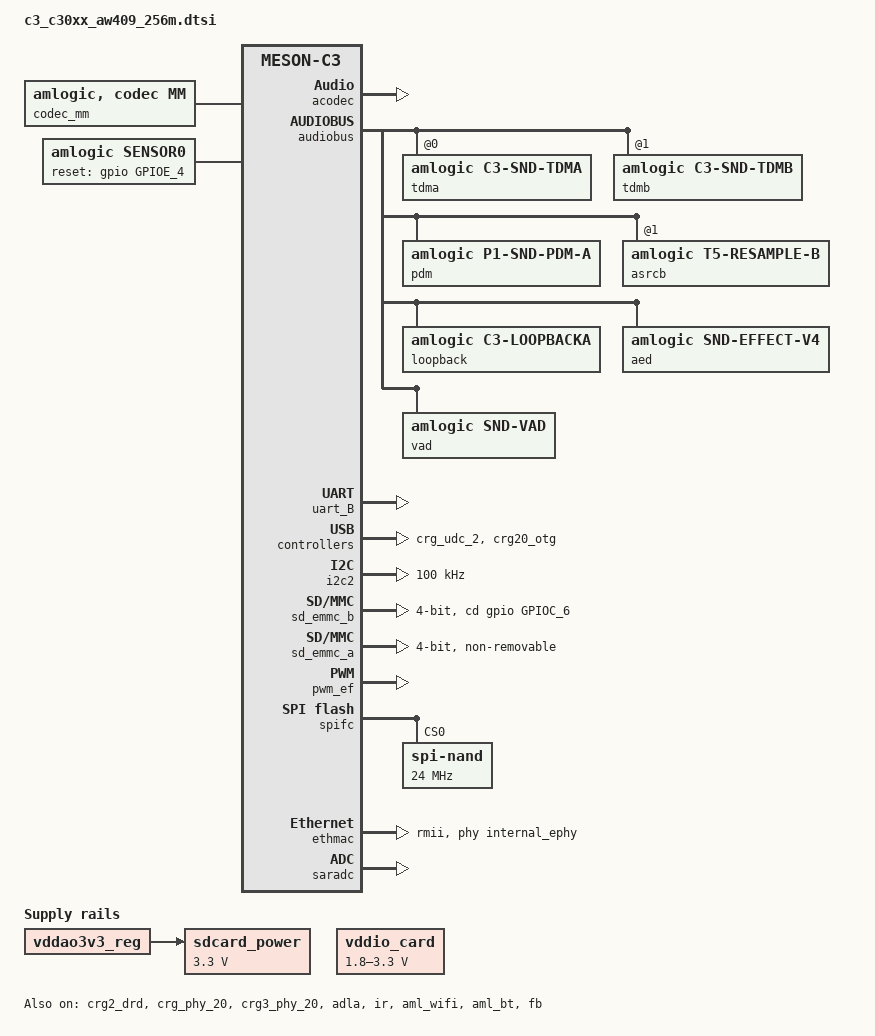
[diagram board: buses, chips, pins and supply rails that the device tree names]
// SPDX-License-Identifier: (GPL-2.0+ OR MIT)
/*
 * Copyright (c) 2019 Amlogic, Inc. All rights reserved.
 */

/dts-v1/;

#include "meson-c3.dtsi"
#include "meson-c3_skt-panel.dtsi"

/ {

	aliases {
		serial0 = &uart_B;
		serial1 = &uart_E;
		serial2 = &uart_A;
		serial3 = &uart_C;
		serial4 = &uart_D;
		serial5 = &uart_F;
		i2c0 = &i2c0;
		i2c1 = &i2c1;
		i2c2 = &i2c2;
		i2c3 = &i2c3;
		spi0 = &spifc;
		spi1 = &spicc0;
		spi2 = &spicc1;
		tsensor0 = &tsensor;
	};

	chosen {
		stdout-path = "serial0:115200n8";
	};

	memory@0 {
		device_type = "memory";
		linux,usable-memory = <0x0 0x10000000>;
	};

	reserved-memory {
		#address-cells = <1>;
		#size-cells = <1>;
		ranges;
		secmon_reserved:linux,secmon {
			compatible = "shared-dma-pool";
			no-map;
			size = <0x100000>;
			alignment = <0x100000>;
			//alloc-ranges =  <0x05000000 0x8000000>;
			reg = <0x07F00000 0x100000>;
		};
		nna_cma_reserved: linux,nna_cma {
			compatible = "shared-dma-pool";
			//alloc-ranges = <0x70000000 0x18000000>;
			size = <0x2000000>;
			alignment = <0x400000>;
			reusable;
			//no-map;
			status = "disabled";
		};

		logo_reserved:linux,meson-fb {
			compatible = "amlogic, meson-fb";
			/* keep sync with fb */
			/* fox example:logo_addr = "0x3f800000"*/
			size = <0x1800000>;
			alignment = <0x400000>;
			reg = <0xe800000 0x1800000>;
			status = "disabled";
		};

		ion_cma_reserved:linux,ion-dev {
			compatible = "shared-dma-pool";
			reusable;
			size = <0x400000>;
			alignment = <0x400000>;
			status = "disabled";
		};

		rtos_reserved:linux,rtos_reserved {
			compatible = "amlogic, aml_rtos_memory";
			status = "disabled";
			reg = <0x4800000 0x200000>;
			no-map;
		};

		dsp_fw_reserved:linux,dsp_fw {
			compatible = "shared-dma-pool";
			reusable;
			alignment = <0x400000>;
			reg = <0x3400000 0x0>;
			status = "disabled";
		};

		ramoops@0x08400000 {
			compatible = "ramoops";
			reg = <0x08400000 0x00100000>;
			record-size = <0x20000>;
			console-size = <0x20000>;
			ftrace-size = <0x80000>;
			pmsg-size = <0x0>;
			no-map;
			status = "disabled";
		};

		pmz_cma_a1_reserved:anonymous {
			compatible = "shared-dma-pool";
			reusable;
			size = <0x8000000>;
			alignment = <0x400000>;
			alloc-ranges = <0x8000000 0x10000000>;
			status = "okay";
		};

		pmz_cma_a2_reserved:anonymous_ext{
			compatible = "shared-dma-pool";
			reusable;
			size = <0x1000000>;
			alignment = <0x400000>;
			status = "disabled";
		};

		linux,cma {
			compatible = "shared-dma-pool";
			reusable;
			size = <0x400000>;
			alignment = <0x400000>;
			alloc-ranges = <0x05000000 0x7F00000>;
			linux,cma-default;
		};

		codec_mm_cma:linux,codec_mm_cma {
			compatible = "shared-dma-pool";
			reusable;
			/* ion_codec_mm max can alloc size 80M*/
			size = <0x2400000>;
			alignment = <0x400000>;
			linux,contiguous-region;
			status = "disabled";
		};
		/* codec shared reserved */
		codec_mm_reserved:linux,codec_mm_reserved {
			compatible = "amlogic, codec-mm-reserved";
			size = <0x0>;
			alignment = <0x100000>;
			//no-map;
		};
		jpegenc_cma_reserved:linux,jpegenc_cma {
			compatible = "shared-dma-pool";
			reusable;
			size = <0x0>;
			alignment = <0x400000>;
			status = "disabled";
		};
	};

	codec_mm {
		compatible = "amlogic, codec, mm";
		memory-region = <&codec_mm_cma &codec_mm_reserved>;
		dev_name = "codec_mm";
		status = "okay";
	};

	sdcard_power: regulator-sdcard {
		compatible = "regulator-fixed";
		regulator-name = "SDCARD_POWER";
		vin-supply = <&vddao3v3_reg>;
		regulator-min-microvolt = <3300000>;
		regulator-max-microvolt = <3300000>;
		//gpio = <&gpio GPIOD_13 GPIO_ACTIVE_HIGH>;
		enable-active-high;
		regulator-boot-on;
	};

	vddio_card: gpio-regulator {
		compatible = "regulator-gpio";
		regulator-name = "VDDIO_CARD";
		regulator-min-microvolt = <1800000>;
		regulator-max-microvolt = <3300000>;
		//gpio = <&gpio GPIOE_2 GPIO_ACTIVE_HIGH>;
		gpios-states = <1>;

		/* Based on P200 schematics, signal CARD_1.8V/3.3V_CTR */
		states = <1800000 1
			  3300000 0>;
	};

	pmz_a1_dev {
		compatible = "amlogic, pmz_dev";
		memory-region = <&pmz_cma_a1_reserved>;
	};

	pmz_a2_dev {
		compatible = "amlogic, pmz_dev";
		memory-region = <&pmz_cma_a2_reserved>;
		status = "okay";
	};

        hantro {
            compatible = "hantro";
            status = "okay";
            interrupts = <0x00 0x86 0x01 0x00 0x87 0x01 0x00 0x88 0x01>;
            interrupt-names = "vc9000e_irq0\0vc9000e_irq1\0vc9000e_irq1";
        };

	/* Audio Related start */
	dummy_codec:dummy_codec{
		#sound-dai-cells = <0>;
		compatible = "amlogic, aml_dummy_codec";
		status = "okay";
	};

	acodec:acodec {
		#sound-dai-cells = <0>;
		compatible = "amlogic, c3_acodec";
		status = "okay";
		reg = <0xFE01A000 0x20>;
		tdmout_index = <0>;
		tdmin_index = <0>;
		dat0_ch_sel = <0>;
		reset-names = "acodec";
		resets = <&reset RESET_ACODEC>;
		//power-domains = <&pwrdm PDID_CX_ACODEC>;
	};

	auge_sound {
		compatible = "amlogic, auge-sound-card";
		aml-audio-card,name = "AML-AUGESOUND";

		/*avout mute gpio*/
		//avout_mute-gpios = <&gpio GPIOD_0 GPIO_ACTIVE_HIGH>;

		aml-audio-card,dai-link@0 {
			format = "i2s"; //"dsp_a";
			mclk-fs = <256>;
			//continuous-clock;
			//bitclock-inversion;
			//frame-inversion;
			/* master mode */
			bitclock-master = <&tdma>;
			frame-master = <&tdma>;
			/* slave mode */
			/*
			 * bitclock-master = <&tdmacodec>;
			 * frame-master = <&tdmacodec>;
			 */
			suffix-name = "alsaPORT-pcm";
			tdmacpu: cpu {
				sound-dai = <&tdma>;
				dai-tdm-slot-tx-mask = <1 1>;
				dai-tdm-slot-rx-mask = <1 1>;
				dai-tdm-slot-num = <2>;
				dai-tdm-slot-width = <32>;
				system-clock-frequency = <12288000>;
			};
			tdmacodec: codec {
				sound-dai = <&dummy_codec &acodec>;
			};
		};

		aml-audio-card,dai-link@1 {
			format = "i2s";
			mclk-fs = <256>;
			//continuous-clock;
			//bitclock-inversion;
			//frame-inversion;
			/* master mode */
			bitclock-master = <&tdmb>;
			frame-master = <&tdmb>;
			/* slave mode */
			//bitclock-master = <&tdmbcodec>;
			//frame-master = <&tdmbcodec>;
			/* suffix-name, sync with android audio hal
			 * what's the dai link used for
			 */
			suffix-name = "alsaPORT-i2s";
			tdmbcpu: cpu {
				sound-dai = <&tdmb>;
				dai-tdm-slot-tx-mask = <1 1>;
				dai-tdm-slot-rx-mask = <1 1>;
				dai-tdm-slot-num = <2>;
				dai-tdm-slot-width = <32>;
				system-clock-frequency = <12288000>;
			};
			tdmbcodec: codec {
				sound-dai = <&dummy_codec>;
			};
		};

		aml-audio-card,dai-link@2 {
			mclk-fs = <64>;
			/* suffix-name, sync with android audio hal
			 * what's the dai link used for
			 */
			suffix-name = "alsaPORT-pdm";
			cpu {
				sound-dai = <&pdm>;
			};
			codec {
				sound-dai = <&dummy_codec>;
			};
		};

		aml-audio-card,dai-link@3 {
			mclk-fs = <256>;
			continuous-clock;
			suffix-name = "alsaPORT-loopback";
			cpu {
				sound-dai = <&loopback>;
				system-clock-frequency = <12288000>;
			};
			codec {
				sound-dai = <&dummy_codec>;
			};
		};
	};

	picdec {
		compatible = "amlogic, picdec";
		status = "okay";
	};

	audiolocker: locker {
		compatible = "amlogic, audiolocker";
		clocks = <&clkaudio CLKID_AUDIO_LOCKER_OUT
				&clkaudio CLKID_AUDIO_LOCKER_IN
				&clkaudio CLKID_AUDIO_MCLK_C
				&clkaudio CLKID_AUDIO_MCLK_D
				&clkc CLKID_FCLK_DIV2
				&clkc CLKID_FCLK_DIV3>;
		clock-names = "lock_out", "lock_in", "out_src",
					"in_src", "out_calc", "in_ref";
		interrupts = <GIC_SPI 42 IRQ_TYPE_EDGE_RISING>;
		interrupt-names = "irq";
		frequency = <49000000>; /* pll */
		dividor = <49>; /* locker's parent */
		//power-domains = <&pwrdm PDID_CX_AUDIO>;
		status = "disabled";
	};
	/* Audio Related end */
	/* to check
	 *wifivbat_power: regulator-wifivbat {
	 *	compatible = "regulator-fixed";
	 *	regulator-name = "WIFIVBAT_POWER";
	 *	vin-supply = <&vddao3v3_reg>;
	 *	regulator-min-microvolt = <3300000>;
	 *	regulator-max-microvolt = <3300000>;
	 *	gpio = <&gpio GPIOD_13 GPIO_ACTIVE_HIGH>;
	 *	enable-active-high;
	 *	regulator-boot-on;
	 *	regulator-always-on;
	 *};

	 *vddio_wf: regulator_wfio {
	 *	compatible = "regulator-fixed";
	 *	regulator-name = "VDDIO_WF";
	 *	vin-supply = <&vddao1v8_reg>;
	 *	regulator-min-microvolt = <1800000>;
	 *	regulator-max-microvolt = <1800000>;
	 *	regulator-boot-on;
	 *	regulator-always-on;
	 *};
	 */

	gpio_keypad{
		compatible = "amlogic, gpio_keypad";
		status = "disabled";
		scan_period = <20>;
		key_num = <1>;
		key_name = "power";
		key_code = <116>;
		key-gpios = <&gpio  GPIOD_4  GPIO_ACTIVE_HIGH>;
		detect_mode = <0>;/*0:polling mode, 1:irq mode*/
	};

	unifykey{
		compatible = "amlogic,unifykey";
		status = "okay";
		unifykey-num = <22>;
		unifykey-index-0 = <&keysn_0>;
		unifykey-index-1 = <&keysn_1>;
		unifykey-index-2 = <&keysn_2>;
		unifykey-index-3 = <&keysn_3>;
		unifykey-index-4 = <&keysn_4>;
		unifykey-index-5 = <&keysn_5>;
		unifykey-index-6 = <&keysn_6>;
		unifykey-index-7 = <&keysn_7>;
		unifykey-index-8 = <&keysn_8>;
		unifykey-index-9 = <&keysn_9>;
		unifykey-index-10= <&keysn_10>;
		unifykey-index-11= <&keysn_11>;
		unifykey-index-12= <&keysn_12>;
		unifykey-index-13= <&keysn_13>;
		unifykey-index-14= <&keysn_14>;
		unifykey-index-15= <&keysn_15>;
		unifykey-index-16= <&keysn_16>;
		unifykey-index-17= <&keysn_17>;
		unifykey-index-18= <&keysn_18>;
		unifykey-index-19= <&keysn_19>;
		unifykey-index-20= <&keysn_20>;
		unifykey-index-21= <&keysn_21>;

		keysn_0: key_0{
			key-name = "usid";
			key-device = "normal";
			key-permit = "read","write","del";
		};
		keysn_1:key_1{
			key-name = "mac";
			key-device = "normal";
			key-permit = "read","write","del";
		};
		keysn_2:key_2{
			key-name = "hdcp";
			key-device = "secure";
			key-type = "sha1";
			key-permit = "read","write","del";
		};
		keysn_3:key_3{
			key-name = "secure_boot_set";
			key-device = "efuse";
			key-permit = "write";
		};
		keysn_4:key_4{
			key-name = "mac_bt";
			key-device = "normal";
			key-permit = "read","write","del";
			key-type  = "mac";
		};
		keysn_5:key_5{
			key-name = "mac_wifi";
			key-device = "normal";
			key-permit = "read","write","del";
			key-type = "mac";
		};
		keysn_6:key_6{
			key-name = "hdcp2_tx";
			key-device = "normal";
			key-permit = "read","write","del";
		};
		keysn_7:key_7{
			key-name = "hdcp2_rx";
			key-device = "normal";
			key-permit = "read","write","del";
		};
		keysn_8:key_8{
			key-name = "widevinekeybox";
			key-device = "secure";
			key-permit = "read","write","del";
		};
		keysn_9:key_9{
			key-name = "deviceid";
			key-device = "normal";
			key-permit = "read","write","del";
		};
		keysn_10:key_10{
			key-name = "hdcp22_fw_private";
			key-device = "secure";
			key-permit = "read","write","del";
		};
		keysn_11:key_11{
			key-name = "PlayReadykeybox25";
			key-device = "secure";
			key-permit = "read","write","del";
		};
		keysn_12:key_12{
			key-name = "prpubkeybox";// PlayReady
			key-device = "secure";
			key-permit = "read","write","del";
		};
		keysn_13:key_13{
			key-name = "prprivkeybox";// PlayReady
			key-device = "secure";
			key-permit = "read","write","del";
		};
		keysn_14:key_14{
			key-name = "attestationkeybox";// attestation key
			key-device = "secure";
			key-permit = "read","write","del";
		};
		keysn_15:key_15{
			key-name = "region_code";
			key-device = "normal";
			key-permit = "read","write","del";
		};
		keysn_16:key_16{
			key-name = "netflix_mgkid";
			key-device = "secure";
			key-permit = "read","write","del";
		};
		keysn_17:key_17{
			key-name = "attestationdevidbox";// attest dev id box
			key-device = "secure";
			key-permit = "read","write","del";
		};
		keysn_18:key_18{
			key-name = "oemkey";
			key-device = "normal";
			key-permit = "read","write","del";
		};
		keysn_19:key_19{
			key-name = "lcd";
			key-device = "normal";
			key-permit = "read","write","del";
		};
		keysn_20:key_20{
			key-name = "lcd_extern";
			key-device = "normal";
			key-permit = "read","write","del";
		};
		keysn_21:key_21{
			key-name = "backlight";
			key-device = "normal";
			key-permit = "read","write","del";
		};
	};//End unifykey

	adc_keypad {
		compatible = "amlogic, adc_keypad";
		status = "disabled";
		key_name = "update", "vol-", "vol+", "ok";
		key_num = <4>;
		io-channels = <&saradc 2>;
		io-channel-names = "key-chan-2";
		key_chan = <2 2 2 2>;
		key_code = <141 114 115 28>;
		key_val = <0 143 266 389>; //val=voltage/1800mV*1023
		key_tolerance = <40 40 40 40>;
	};

	sensor0 {
		compatible = "amlogic, sensor0";
		status = "okay";
		clocks = <&clkc CLKID_MCLK_PLL_CLK
				&clkc CLKID_MCLK_0>;
		clock-names = "mclk_pll", "mclk";
		clock-frequency = <74250000>;
		devices-type = <0>;
		reset-gpios = <&gpio GPIOE_4 GPIO_ACTIVE_HIGH>;
	};
};

&cpu0 {
	operating-points-v2 = <&cpu_opp_table0_qfn>,
			<&cpu_opp_table1_qfn>,
			<&cpu_opp_table2_qfn>,
			<&cpu_opp_table3_qfn>;
};

&cpu1 {
	operating-points-v2 = <&cpu_opp_table0_qfn>,
			<&cpu_opp_table1_qfn>,
			<&cpu_opp_table2_qfn>,
			<&cpu_opp_table3_qfn>;
};

/* Audio Related start */
&audiobus {
	tdma: tdm@0 {
		compatible = "amlogic, c3-snd-tdma";
		#sound-dai-cells = <0>;
		dai-tdm-lane-slot-mask-in = <1 0>;
		dai-tdm-lane-slot-mask-out = <1 0>;
		dai-tdm-clk-sel = <0>;
		clocks = <&clkaudio CLKID_AUDIO_MCLK_A
				&clkc CLKID_HIFI_PLL>; //CLKID_FCLK_DIV3>;
		clock-names = "mclk", "clk_srcpll";
		pinctrl-names = "tdm_pins";
		pinctrl-0 = <&tdmout_a
				&tdmb_mclk
				&tdma_clk_pins
				&tdma_d0_pins
				&tdma_d1_pins>;
		//power-domains = <&pwrdm PDID_CX_AUDIO>;
		/* tdmin data comes from ACODEC adc */
		tdmin-src-name = "acodec_adc";

		status = "okay";
	};

	tdmb: tdm@1 {
		compatible = "amlogic, c3-snd-tdmb";
		#sound-dai-cells = <0>;
		dai-tdm-lane-slot-mask-in = <0 1 0 0>;
		dai-tdm-lane-slot-mask-out = <1 0 0 0>;
		dai-tdm-clk-sel = <1>;
		clocks = <&clkaudio CLKID_AUDIO_MCLK_B
				&clkaudio CLKID_AUDIO_MCLK_PAD0
				&clkc CLKID_HIFI_PLL>;
		clock-names = "mclk", "mclk_pad", "clk_srcpll";
		pinctrl-names = "tdm_pins";
		//pinctrl-0 = <&tdmb_mclk
		//		&tdmout_a
		//		&tdmb_clk_pins
		//		&tdmb_d0_pins>;

		/*
		 * 0: tdmout_a;
		 * 1: tdmout_b;
		 * 2: tdmout_c;
		 * 3: spdifout;
		 * 4: spdifout_b;
		 */
		//samesource_sel = <3>;
		start_clk_enable = <1>;
		//power-domains = <&pwrdm PDID_CX_AUDIO>;

		src-clk-freq = <1155072000>;

		status = "okay";
	};

	tdmlb:tdm@3 {
		compatible = "amlogic, a1-snd-tdmlb";
		#sound-dai-cells = <0>;

		dai-tdm-lane-lb-slot-mask-in = <1 0 0 0>;
		dai-tdm-clk-sel = <1>;

		clocks = <&clkaudio CLKID_AUDIO_MCLK_B
				&clkc CLKID_FCLK_DIV3>;
		clock-names = "mclk", "clk_srcpll";

		/*
		 * select tdmin_lb src;
		 * AXG
		 *  0: TDMOUTA
		 *  1: TDMOUTB
		 *  2: TDMOUTC
		 *  3: PAD_TDMINA
		 *  4: PAD_TDMINB
		 *  5: PAD_TDMINC
		 *
		 * G12A/G12B
		 *  0: TDMOUTA
		 *  1: TDMOUTB
		 *  2: TDMOUTC
		 *  3: PAD_TDMINA_DIN*
		 *  4: PAD_TDMINB_DIN*
		 *  5: PAD_TDMINC_DIN*
		 *  6: PAD_TDMINA_D*, oe pin
		 *  7: PAD_TDMINB_D*, oe pin
		 *
		 * TL1/SM1
		 *  0: TDMOUTA
		 *  1: TDMOUTB
		 *  2: TDMOUTC
		 *  3: PAD_TDMINA_DIN*
		 *  4: PAD_TDMINB_DIN*
		 *  5: PAD_TDMINC_DIN*
		 *  6: PAD_TDMINA_D*
		 *  7: PAD_TDMINB_D*
		 *  8: PAD_TDMINC_D*
		 *  9: HDMIRX_I2S
		 *  10: ACODEC_ADC
		 *
		 * A1
		 *  0: TDMOUTA
		 *  1: TDMOUTB
		 *  3: PAD_TDMINA_DIN*
		 *  4: PAD_TDMINB_DIN*
		 */

		lb-src-sel = <1>;
		//power-domains = <&pwrdm PDID_CX_AUDIO>;

		status = "disabled";
	};

	pdm: pdm {
		compatible = "amlogic, p1-snd-pdm-a";
		#sound-dai-cells = <0>;

		clocks = <&clkaudio CLKID_AUDIO_GATE_PDM
			&clkc CLKID_FCLK_DIV3
			&clkc CLKID_HIFI_PLL
			&clkaudio CLKID_AUDIO_PDMIN0
			&clkaudio CLKID_AUDIO_PDMIN1>;
		clock-names = "gate",
			"sysclk_srcpll",
			"dclk_srcpll",
			"pdm_dclk",
			"pdm_sysclk";

		pinctrl-names = "pdm_pins";
		pinctrl-0 = <&pdmin>;

		/* mode 0~4, defalut:1 */
		filter_mode = <1>;
		lane-mask-in = <1 0 0 0>;

		sys-src-clk-freq = <1155072000>;
		train_sample_count = <0xb>;
		//power-domains = <&pwrdm PDID_CX_PDM>;

		status = "okay";
	};

	asrcb: resample@1 {
		compatible = "amlogic, t5-resample-b";
		clocks = <&clkc CLKID_HIFI_PLL
			&clkaudio CLKID_AUDIO_MCLK_F
			&clkaudio CLKID_AUDIO_RESAMPLE_A>;
		clock-names = "resample_pll", "resample_src", "resample_clk";

		/*this resample is only used for loopback_A.*/
		/*only support 16000 or 48000Hz for capture*/
		capture_sample_rate = <16000>;

		status = "okay";
	};

	loopback: loopback {
		compatible = "amlogic, c3-loopbacka";
		#sound-dai-cells = <0>;

		original-src = <&pdm>;
		//tdmin_lb-src = <&tdmin_lb>;

		clocks = <&clkaudio CLKID_AUDIO_GATE_PDM
			&clkc CLKID_FCLK_DIV3
			&clkc CLKID_HIFI_PLL
			&clkaudio CLKID_AUDIO_PDMIN0
			&clkaudio CLKID_AUDIO_PDMIN1
			&clkc CLKID_HIFI_PLL
			&clkaudio CLKID_AUDIO_MCLK_B>;
		clock-names = "pdm_gate",
			"pdm_sysclk_srcpll",
			"pdm_dclk_srcpll",
			"pdm_dclk",
			"pdm_sysclk",
			"tdminlb_mpll",
			"tdminlb_mclk";

		/* datain src
		 * 0: tdmin_a;
		 * 1: tdmin_b;
		 * 2: tdmin_c;
		 * 3: spdifin;
		 * 4: pdmin;
		 */
		datain_src = <4>;
		datain_chnum = <2>;
		datain_chmask = <0x3>;
		/* config which data pin for loopback */
		datain-lane-mask-in = <1 0 0 0>;

		/* calc mclk for datalb */
		mclk-fs = <256>;

		/* tdmin_lb src
		 * 0: tdmoutA
		 * 1: tdmoutB
		 * 2: tdmoutC
		 * 3: PAD_TDMINA_DIN*, refer to core pinmux
		 * 4: PAD_TDMINB_DIN*, refer to core pinmux
		 * 5: PAD_TDMINC_DIN*, refer to core pinmux
		 * 6: PAD_TDMINA_D*, oe, refer to core pinmux
		 * 7: PAD_TDMINB_D*, oe, refer to core pinmux
		 */
		/* if tdmin_lb >= 3, use external loopback */
		datalb_src = <1>;
		datalb_chnum = <2>;
		datalb_chmask = <0x3>;
		/* config which data pin as loopback */
		datalb-lane-mask-in = <1 0 0 0>;
		//power-domains = <&pwrdm PDID_CX_AUDIO>;

		status = "okay";
	};

	aed:effect {
		compatible = "amlogic, snd-effect-v4";
		#sound-dai-cells = <0>;
		clocks = <&clkaudio CLKID_AUDIO_GATE_EQDRC
			&clkc CLKID_FCLK_DIV3
			&clkaudio CLKID_AUDIO_EQDRC>;
		clock-names = "gate", "srcpll", "eqdrc";
		/*
		 * 0:tdmout_a
		 * 1:tdmout_b
		 * 2:tdmout_c
		 * 3:spdifout
		 * 4:spdifout_b
		 */
		eqdrc_module = <0>;
		/* max 0xf, each bit for one lane, usually one lane */
		lane_mask = <0x1>;
		/* max 0xff, each bit for one channel */
		channel_mask = <0x3>;
		//power-domains = <&pwrdm PDID_CX_AUDIO>;
		status = "okay";
	};

	vad:vad {
		compatible = "amlogic, snd-vad";
		#sound-dai-cells = <0>;

		clocks = <&clkaudio CLKID_AUDIO_GATE_TOVAD
			&clkc CLKID_FCLK_DIV4
			&clkaudio CLKID_AUDIO_VAD>;
		clock-names = "gate", "pll", "clk";

		interrupts = <GIC_SPI 39 IRQ_TYPE_EDGE_RISING
				GIC_SPI 44 IRQ_TYPE_EDGE_RISING>;
		interrupt-names = "irq_wakeup", "irq_frame_sync";

		/*
		 * Data src sel:
		 * 0: tdmin_a;
		 * 1: tdmin_b;
		 * 2: tdmin_c;
		 * 3: spdifin;
		 * 4: pdmin;
		 * 5: loopback_b;
		 * 6: tdmin_lb;
		 * 7: loopback_a;
		 */
		src = <4>;

		/*
		 * deal with hot word in user space or kernel space
		 * 0: in user space
		 * 1: in kernel space
		 */
		level = <1>;

		mic-src = <&pdm>;
		wakeup_sample_rate = <16000>;

		status = "okay";
	};
}; /* end of audiobus */
/* Audio Related end */

&periphs_pinctrl {
	/* Audio Related start */
	tdmout_a: tdmout_a {
		mux { /* GPIOX_3, GPIOX_4, GPIOX_1 GPIOX_0 */
			groups = "tdm_sclk0_x",
				"tdm_fs0_x",
				"tdm_d0_x",
				"tdm_d1_x";
			function = "tdm";
		};
	};

	tdmin_a: tdmin_a {
		mux { /* GPIOX_0 */
			groups = "tdm_d1_x";
			function = "tdm";
		};
	};

	tdmb_mclk: tdmb_mclk {
		mux {
			groups = "mclk_0_x";
			function = "mclk_0";
			drive-strength = <2>;
		};
	};

	tdmout_b: tdmout_b {
		mux { /* GPIOC_3, GPIOC_4, GPIOC_1 */
			groups = "tdm_sclk1",
				"tdm_fs1",
				"tdm_d2";
			function = "tdm";
			drive-strength = <2>;
		};
	};

	pdmin: pdmin {
		mux { /* GPIOC_5, GPIOC_6 */
			groups =
				"pdm_dclk_c",
				"pdm_din0_c";
			function = "pdm";
		};
	};

	/* Audio Related end */
};

&pinctrl_audio {
	tdma_clk_pins: tdma_clk_pin {
		mux {
			groups = "tdm_sclk0", "tdm_lrclk0";
			function = "tdm_clk_outa";
		};
	};

	tdma_d0_pins: tdma_d0_pin {
		mux {
			groups = "tdm_d0";
			function = "tdmouta_lane0";
		};
	};

	tdma_d1_pins: tdma_d1_pin {
		mux {
			groups = "tdm_d1";
			function = "tdmina_lane1";
		};
	};

	tdmb_clk_pins: tdmb_clk_pin {
		mux {
			groups = "tdm_sclk0", "tdm_lrclk0";
			function = "tdm_clk_outb";
		};
	};

	tdmb_d0_pins: tdmb_d0_pin {
		mux {
			groups = "tdm_d0";
			function = "tdmoutb_lane0";
		};
	};
};

&aml_bc {
	status = "disable";
};

&aml_cc {
	status = "disable";
};

&uart_B {
	status = "okay";
};

&crg_udc_2 {
	status = "okay";
};

&crg20_otg {
	status = "okay";
	controller-type = <1>;
};

&crg2_drd {
	compatible = "amlogic, crg-drd";
	status = "okay";
};

&crg_phy_20 {
	status = "okay";
	portnum = <1>;
	/* gpio-vbus-power = "GPIOA_2"; */
	/* gpios = <&gpio GPIOA_2 GPIO_ACTIVE_HIGH>; */
};

&crg3_phy_20 {
	status = "okay";
	portnum = <0>;
};

&i2c1 {
	status = "disabled";
	pinctrl-names = "default";
	pinctrl-0 = <&i2c1_master_pins2>;
};

&i2c2 {
	status = "okay";
	pinctrl-names = "default";
	pinctrl-0 = <&i2c2_master_pins1>;
	clock-frequency = <100000>; /* default 100k */
};

&adla {
	status = "okay";
	memory-region = <&nna_cma_reserved>;
};

&ir {
	status = "okay";
	//pinctrl-0 = <&remote_pins>;
	pinctrl-names = "default";
};

&sd_emmc_c {
	status = "disabled";
	pinctrl-0 = <&emmc_pins>;
	pinctrl-1 = <&emmc_clk_gate_pins>;
	pinctrl-2 = <&emmc_pins_sleep>;
	pinctrl-names = "default", "clk-gate", "sleep";
	cap-mmc-highspeed;
	non-removable;
	//mmc-run-pxp;
	//mmc-ddr-1_8v;
	mmc-hs200-1_8v;
	mmc-hs400-1_8v;
	max-frequency = <200000000>;
	disable-wp;
	bus-width = <8>;
};

&sd_emmc_b {
	status = "okay";
	pinctrl-0 = <&sdcard_pins>;
	pinctrl-1 = <&sdcard_clk_gate_pins>;
	pinctrl-2 = <&sd_1bit_pins>;
	pinctrl-3 = <&sdcard_pins_sleep>;
//	pinctrl-3 = <&b_uart_pins1
//		     &sdcard_clk_gate_pins &ao_to_sd_uart_pins>;
//	pinctrl-4 = <&b_uart_pins1
//		     &sd_1bit_pins &ao_to_sd_uart_pins>;
//	pinctrl-5 = <&sdcard_pins &b_uart_enable_pins1>;
//	pinctrl-6 = <&b_uart_pins1
//		     &ao_to_sd_uart_pins>;
//	pinctrl-7 = <&sdcard_pins &b_uart_enable_pins1>;
//	pinctrl-8 = <&b_uart_pins1
//		     &ao_to_sd_uart_pins>;
	pinctrl-names = "sd_default",
			"clk-gate",
			"sd_1bit_pins",
			 "sleep";
			//"sd_clk_cmd_uart_pins";
//			"sd_1bit_uart_pins",
//			"sd_to_ao_uart_pins",
//			"ao_to_sd_uart_pins",
//			"sd_to_ao_jtag_pins",
//			"ao_to_sd_jtag_pins",
	bus-width = <4>;
	cap-sd-highspeed;
	//non-removable;
	//sd-uhs-sdr104;
	disable-wp;
	//mmc-run-pxp;
	max-frequency = <200000000>;
	cd-gpios = <&gpio GPIOC_6 GPIO_ACTIVE_HIGH>;
	dat1-gpios = <&gpio GPIOC_1 GPIO_ACTIVE_HIGH>;
	//dat3-gpios = <&gpio GPIOC_3 GPIO_ACTIVE_HIGH>;
	//vmmc-supply = <&sdcard_power>;
	//vqmmc-supply = <&vddio_card>;
};

&sd_emmc_a {
	status = "okay";
	pinctrl-0 = <&sdio_m_pins>;
	pinctrl-1 = <&sdio_m_clk_gate_pins>;
	pinctrl-names = "default", "clk-gate";
	bus-width = <4>;
	cap-sd-highspeed;
	sd-uhs-sdr104;
	non-removable;
	max-frequency = <200000000>;
	disable-wp;
	cap-sdio-irq;
	keep-power-in-suspend;
};

&pwm_ef {
	status = "okay";
	pinctrl-names = "default";
	pinctrl-0 = <&pwm_e_pins1>;
};

&aml_wifi {
	status = "okay";
	interrupt-gpios = <&gpio  GPIOX_13  GPIO_ACTIVE_HIGH>;
	power_on-gpios = <&gpio   GPIOX_6  GPIO_ACTIVE_HIGH>;
};

&aml_bt {
	status = "okay";
	reset-gpios = <&gpio    GPIOX_12 GPIO_ACTIVE_HIGH>;
};

&fb {
	status = "okay";
	display_size_default = <1920 1080 1920 2160 32>;
	mem_size = <0x00800000 0x1000000>;
	logo_addr = "0xe800000";
	/* display_device_cnt = <2>; */ /* for dual screen upport */
	mem_alloc = <1>;
	pxp_mode = <0>; /** 0:normal mode 1:pxp mode */
};

&mtd_nand {
	status = "disabled";
	#address-cells = <1>;
	#size-cells = <0>;

	pinctrl-names = "nand_norb_mod","nand_cs_only";
	pinctrl-0 = <&all_nand_pins>;
	pinctrl-1 = <&nand_cs_pins>;
	bl_mode = <1>;
	fip_copies = <4>;
	fip_size = <0x200000>;
	ship_bad_block = <1>;
	disa_irq_flag = <1>;
	nand@bootloader {
		reg = <0>;
		#address-cells = <1>;
		#size-cells = <1>;
		nand-ecc-maximize;
		partition@0 {
			label = "bootloader";
			reg = <0x0 0x00000000>;
		};
	};
	nand@normal {
		reg = <0>;
		#address-cells = <1>;
		#size-cells = <1>;
		nand-ecc-maximize;

		partition@0 {
			label = "tpl";
			reg = <0x0 0x00000000>;
		};
		partition@2 {
			label = "recovery";
			reg = <0x0 0x2000000>;
		};
		partition@3 {
			label = "boot";
			reg = <0x0 0x2000000>;
		};
		partition@4 {
			label = "system";
			reg = <0x0 0x13000000>;
		};
		partition@5 {
			label = "data";
			reg = <0x0 0xffffffff>;
		};
	};
};

&spifc {
	status = "okay";
	pinctrl-names = "default";
	pinctrl-0 = <&spifc_pins>;
	spi-nand@0 {
		compatible = "spi-nand";
		status = "okay";
		reg = <0>;
		spi-max-frequency = <24000000>;
		spi-tx-bus-width = <1>;
		spi-rx-bus-width = <1>;
		bl_mode = <2>; /* advance mode */
		fip_copies = <4>;
		info_p_mode = <1>; /* Info page on page 0 */
		partition = <&snand_partitions>;
		snand_partitions: snand_partitions{
			bootloader{
				offset=<0x0 0x0>;
				size=<0x0 0x0>;
			};
			bl2e{
				offset=<0x0 0x0>;
				size=<0x0 0x0>;
			};
			bl2x{
				offset=<0x0 0x0>;
				size=<0x0 0x0>;
			};
			ddrfip{
				offset=<0x0 0x0>;
				size=<0x0 0x0>;
			};
			devfip{
				offset=<0x0 0x0>;
				size=<0x0 0x0>;
			};
			logo{
				offset=<0x0 0x0>;
				size=<0x0 0x200000>;
			};
			misc{
				offset=<0x0 0x0>;
				size=<0x0 0x200000>;
			};
			recovery{
				offset=<0x0 0x0>;
				size=<0x0 0x1000000>;
			};
			boot{
				offset=<0x0 0x0>;
				size=<0x0 0x1000000>;
			};
			system{
				offset=<0x0 0x0>;
				size=<0x0 0x6000000>;
			};
			data{
				offset=<0xffffffff 0xffffffff>;
				size=<0x0 0x0>;
			};
		};
	};
};

&ethmac {
	status = "okay";
	phy-handle = <&internal_ephy>;
	phy-mode = "rmii";
};

&saradc {
	status = "okay";
};

&spicc1 {
	status = "disabled";
	pinctrl-names = "default";
	pinctrl-0 = <&spicc1_pins1>;
	//cs-gpios = <&gpio GPIOA_14 0>;
};

&freertos {
	status = "disabled";
};
